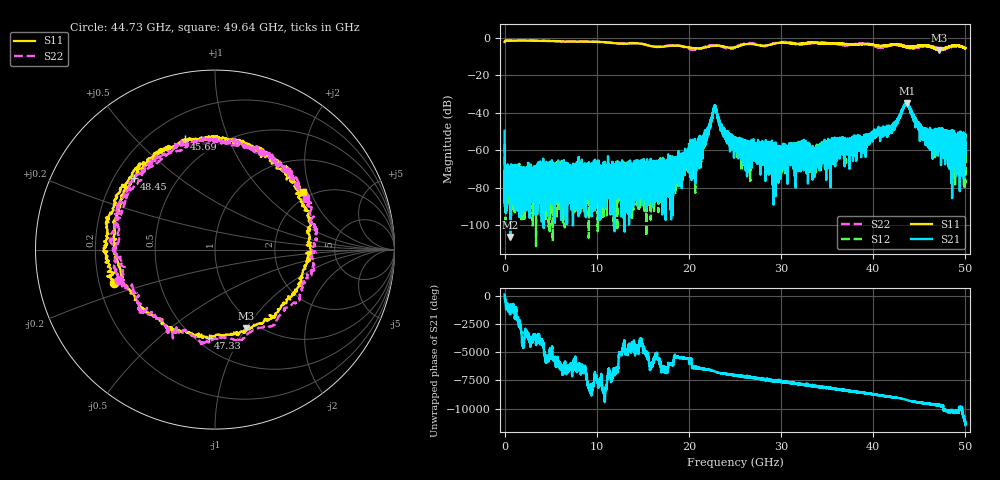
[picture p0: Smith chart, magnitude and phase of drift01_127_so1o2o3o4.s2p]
!Created with skrf (http://scikit-rf.org).
# Hz S RI R 50.0
!freq ReS11 ImS11 ReS21 ImS21 ReS12 ImS12 ReS22 ImS22
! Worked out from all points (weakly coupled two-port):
!   10001 points, 300 kHz to 50 GHz, reference 50 ohm
!   highest |S21| = -34.72 dB at 43.63 GHz (marker M1); lowest = -106.3 dB at 625.3 MHz (marker M2)
!   lowest |S11| = -6.5 dB at 47.15 GHz (marker M3), VSWR 2.79, Z = 44.4 - j50.3 ohm
!   |S11| at or under -10 dB: nowhere
!   |S22| runs from -6.4 to -1.4 dB; largest |S21 - S12| = 0.0044
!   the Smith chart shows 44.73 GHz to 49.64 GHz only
!   S11 on the Smith chart (normalised r, x): 44.73 GHz: 0.26, -0.15; 45.69 GHz: 0.34, +0.70; 47.33 GHz: 0.58, -0.75; 48.45 GHz: 0.28, +0.35; 49.64 GHz: 1.82, +1.76
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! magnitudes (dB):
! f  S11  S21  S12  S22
! 300 kHz  -2.1  -49.6  -56.7  -2.1
! 255.3 MHz  -1.4  -91.3  -82.9  -1.4
! 625.3 MHz  -1.5  -106.3  -89.6  -1.5
! 8.335 GHz  -1.9  -79.7  -69.9  -1.8
! 16.67 GHz  -4.8  -71.4  -81.0  -4.8
! 17.53 GHz  -4.5  -73.8  -72.1  -4.2
! 20.95 GHz  -5.6  -57.5  -57.9  -6.1
! 21.9 GHz  -4.9  -50.5  -52.1  -4.5
! 22.79 GHz  -4.3  -36.4  -36.1  -4.0
! 23.71 GHz  -4.6  -49.6  -50.8  -4.9
! 25 GHz  -5.0  -55.9  -58.6  -5.0
! 29.59 GHz  -2.8  -65.8  -62.9  -2.6
! 33.34 GHz  -2.6  -60.9  -61.1  -2.6
! 41.67 GHz  -3.9  -47.9  -48.6  -4.2
! 43.63 GHz  -4.8  -34.7  -35.0  -5.1
! 44.73 GHz  -4.5  -44.4  -47.0  -5.1
! 45.69 GHz  -3.9  -53.8  -50.4  -4.3
! 47.15 GHz  -6.5  -54.0  -52.1  -6.0
! 47.33 GHz  -6.1  -54.0  -54.7  -6.2
! 48.45 GHz  -4.4  -57.3  -56.2  -4.8
! 49.64 GHz  -4.7  -52.6  -57.1  -4.7
! 50 GHz  -5.3  -55.7  -58.9  -5.3
